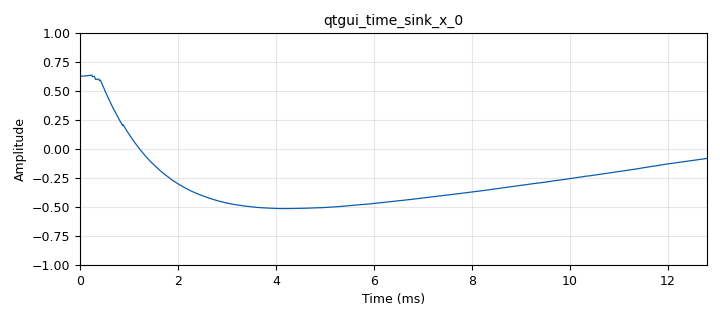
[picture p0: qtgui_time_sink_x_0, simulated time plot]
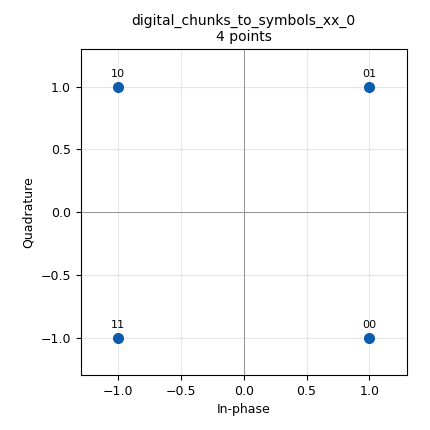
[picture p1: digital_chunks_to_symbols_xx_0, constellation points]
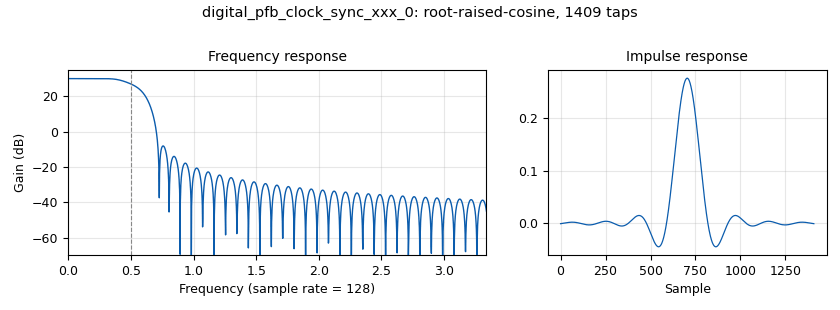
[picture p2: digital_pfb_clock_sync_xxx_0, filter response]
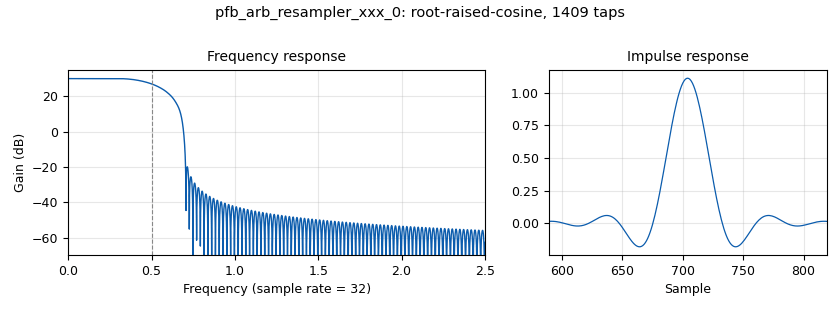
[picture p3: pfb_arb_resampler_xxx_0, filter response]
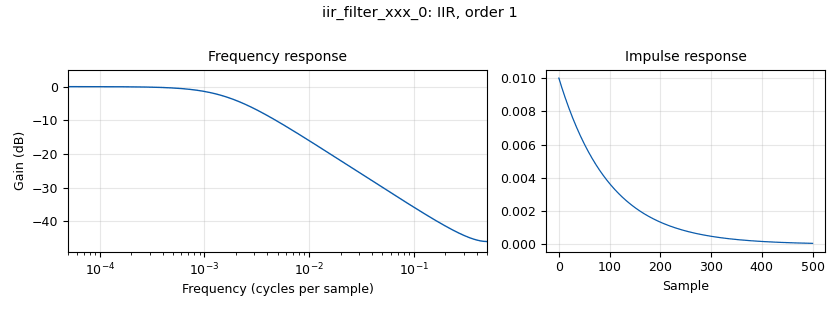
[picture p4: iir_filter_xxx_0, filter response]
options:
  parameters:
    author: Prakhar
    generate_options: qt_gui
    id: task2
    output_language: python
    title: Not titled yet
  states: {}

blocks:
- name: const_points
  id: variable
  parameters:
    value: '4'
  states: {}
- name: excess_bw
  id: variable
  parameters:
    value: '0.4'
  states: {}
- name: nfilts
  id: variable
  parameters:
    value: '32'
  states: {}
- name: ntaps
  id: variable
  parameters:
    value: 11*nfilts*sps
  states: {}
- name: rx_taps
  id: variable
  parameters:
    value: filter.firdes.root_raised_cosine(nfilts, nfilts*sps, 1.0, excess_bw, ntaps)
  states: {}
- name: samp_rate
  id: variable
  parameters:
    value: '320000'
  states: {}
- name: sps
  id: variable
  parameters:
    value: '4'
  states: {}
- name: timing_bw
  id: variable
  parameters:
    value: 2*pi/100
  states: {}
- name: tx_taps
  id: variable
  parameters:
    value: firdes.root_raised_cosine(nfilts, nfilts, 1.0, excess_bw, ntaps)
  states: {}
- name: analog_random_source_x_0
  id: analog_random_source_x
  parameters:
    max: const_points
    min: '0'
    num_samps: '1000'
    repeat: 'True'
    type: byte
  states: {}
- name: analog_sig_source_x_0_0
  id: analog_sig_source_x
  parameters:
    amp: '1'
    freq: '10'
    offset: '0'
    phase: '0'
    samp_rate: samp_rate
    type: complex
    waveform: analog.GR_SIN_WAVE
  states: {}
- name: blocks_add_const_vxx_0
  id: blocks_add_const_vxx
  parameters:
    const: '-0.5'
    type: float
  states: {}
- name: blocks_add_const_vxx_0_0
  id: blocks_add_const_vxx
  parameters:
    const: '-0.5'
    type: float
  states: {}
- name: blocks_complex_to_float_0
  id: blocks_complex_to_float
  parameters: {}
  states: {}
- name: blocks_multiply_xx_0
  id: blocks_multiply_xx
  parameters:
    type: complex
  states: {}
- name: blocks_multiply_xx_1_0
  id: blocks_multiply_xx
  parameters:
    type: float
  states: {}
- name: blocks_multiply_xx_1_0_0
  id: blocks_multiply_xx
  parameters:
    type: float
  states: {}
- name: blocks_sub_xx_0
  id: blocks_sub_xx
  parameters:
    type: float
  states: {}
- name: blocks_threshold_ff_0
  id: blocks_threshold_ff
  parameters:
    high: '0.001'
    init: '0'
    low: '-0.001'
  states: {}
- name: blocks_threshold_ff_0_0
  id: blocks_threshold_ff
  parameters:
    high: '0.001'
    init: '0'
    low: '-0.001'
  states: {}
- name: blocks_throttle_1
  id: blocks_throttle
  parameters:
    samples_per_second: samp_rate/4
    type: float
  states: {}
- name: digital_chunks_to_symbols_xx_0
  id: digital_chunks_to_symbols_xx
  parameters:
    dimension: '1'
    in_type: byte
    out_type: complex
    symbol_table: ((1-1j),(1+1j),(-1+1j),(-1-1j))
  states: {}
- name: digital_pfb_clock_sync_xxx_0
  id: digital_pfb_clock_sync_xxx
  parameters:
    filter_size: '32'
    init_phase: '16'
    loop_bw: timing_bw
    max_dev: '1.5'
    osps: '1'
    sps: sps
    taps: rx_taps
    type: ccf
  states: {}
- name: iir_filter_xxx_0
  id: iir_filter_xxx
  parameters:
    fbtaps: '[-1,0.99]'
    fftaps: '[0.01]'
    type: ffd
  states: {}
- name: import_0
  id: import
  parameters:
    imports: from gnuradio import digital
  states: {}
- name: import_1
  id: import
  parameters:
    imports: from gnuradio import filter
  states: {}
- name: pfb_arb_resampler_xxx_0
  id: pfb_arb_resampler_xxx
  parameters:
    atten: '100'
    nfilts: '32'
    rrate: sps
    taps: tx_taps
    type: ccf
  states: {}
- name: pi
  id: import
  parameters:
    imports: from math import pi
  states: {}
- name: qtgui_sink_x_0
  id: qtgui_sink_x
  parameters:
    bw: samp_rate
    fc: '0'
    fftsize: '1024'
    type: complex
    wintype: firdes.WIN_BLACKMAN_hARRIS
  states: {state: disabled}
- name: qtgui_sink_x_0_1
  id: qtgui_sink_x
  parameters:
    bw: samp_rate
    fc: '0'
    fftsize: '1024'
    type: complex
    wintype: firdes.WIN_BLACKMAN_hARRIS
  states: {state: disabled}
- name: qtgui_sink_x_0_1_0
  id: qtgui_sink_x
  parameters:
    bw: samp_rate/4
    fc: '0'
    fftsize: '1024'
    type: float
    wintype: firdes.WIN_BLACKMAN_hARRIS
  states: {state: disabled}
- name: qtgui_time_sink_x_0
  id: qtgui_time_sink_x
  parameters:
    ctrlpanel: 'True'
    label1: ''
    size: '1024'
    srate: samp_rate/4
    type: float
  states: {}

connections:
- [analog_random_source_x_0, '0', digital_chunks_to_symbols_xx_0, '0']
- [analog_sig_source_x_0_0, '0', blocks_multiply_xx_0, '1']
- [blocks_add_const_vxx_0, '0', blocks_multiply_xx_1_0, '0']
- [blocks_add_const_vxx_0_0, '0', blocks_multiply_xx_1_0_0, '1']
- [blocks_complex_to_float_0, '0', blocks_multiply_xx_1_0_0, '0']
- [blocks_complex_to_float_0, '0', blocks_threshold_ff_0, '0']
- [blocks_complex_to_float_0, '1', blocks_multiply_xx_1_0, '1']
- [blocks_complex_to_float_0, '1', blocks_threshold_ff_0_0, '0']
- [blocks_multiply_xx_0, '0', digital_pfb_clock_sync_xxx_0, '0']
- [blocks_multiply_xx_1_0, '0', blocks_sub_xx_0, '0']
- [blocks_multiply_xx_1_0_0, '0', blocks_sub_xx_0, '1']
- [blocks_sub_xx_0, '0', iir_filter_xxx_0, '0']
- [blocks_threshold_ff_0, '0', blocks_add_const_vxx_0, '0']
- [blocks_threshold_ff_0_0, '0', blocks_add_const_vxx_0_0, '0']
- [blocks_throttle_1, '0', qtgui_sink_x_0_1_0, '0']
- [blocks_throttle_1, '0', qtgui_time_sink_x_0, '0']
- [digital_chunks_to_symbols_xx_0, '0', pfb_arb_resampler_xxx_0, '0']
- [digital_chunks_to_symbols_xx_0, '0', qtgui_sink_x_0, '0']
- [digital_pfb_clock_sync_xxx_0, '0', blocks_complex_to_float_0, '0']
- [digital_pfb_clock_sync_xxx_0, '0', qtgui_sink_x_0_1, '0']
- [iir_filter_xxx_0, '0', blocks_throttle_1, '0']
- [pfb_arb_resampler_xxx_0, '0', blocks_multiply_xx_0, '0']

metadata:
  file_format: 1
